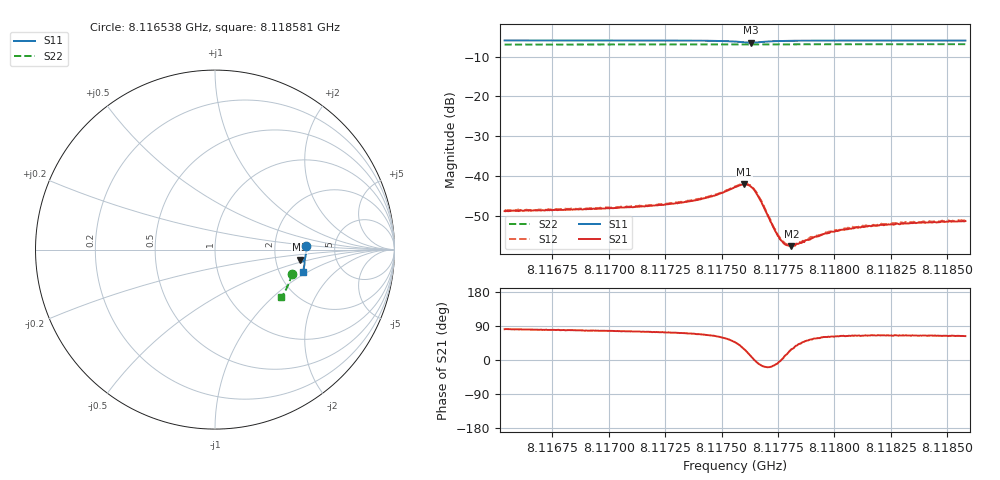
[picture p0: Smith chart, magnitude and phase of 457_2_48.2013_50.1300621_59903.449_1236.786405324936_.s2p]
#  HZ  S  RI  R  50.00
! Rohde & Schwarz Vector Network Analyzer
! Rohde-Schwarz,ZNB20-2Port,1311601062101988,3.16
! Created: UTC 3/20/2024, 11:56:35 AM
! freq[Hz]  re:S11  im:S11  re:S21  im:S21  re:S12  im:S12  re:S22  im:S22
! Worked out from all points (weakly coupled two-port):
!   401 points, 8.116538 GHz to 8.118581 GHz, reference 50 ohm
!   highest |S21| = -42.09 dB at 8.117601 GHz (marker M1); lowest = -57.6 dB at 8.11781 GHz (marker M2)
!   lowest |S11| = -6.4 dB at 8.117631 GHz (marker M3), VSWR 2.82, Z = 138 - j19.8 ohm
!   |S11| at or under -10 dB: nowhere
!   |S22| runs from -6.9 to -6.8 dB; largest |S21 - S12| = 0.00023
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8.1165384e9  0.507 0.019  0.000547 0.00356  0.000615 0.00365  0.4288 -0.1375
8.1168806e9  0.5069 -0.00727  0.000795 0.0037  0.000867 0.00378  0.4218 -0.1603
8.1172227e9  0.5046 -0.0347  0.00123 0.00413  0.0013 0.0042  0.4134 -0.1828
8.1173146e9  0.5034 -0.0427  0.00148 0.00433  0.00151 0.00443  0.411 -0.1889
8.1174116e9  0.501 -0.052  0.00194 0.00475  0.00205 0.00482  0.4082 -0.1952
8.1174882e9  0.4969 -0.0604  0.00283 0.00521  0.0029 0.00527  0.4061 -0.2001
8.1175597e9  0.4868 -0.0674  0.00494 0.00527  0.00504 0.00535  0.4035 -0.2045
8.1176006e9  0.4766 -0.0651  0.00688 0.0038  0.00705 0.00377  0.402 -0.2068
8.1176312e9  0.4729 -0.0557  0.00719 0.00115  0.00737 0.00118  0.401 -0.2083
8.1176465e9  0.4751 -0.0506  0.00656 -7.47e-05  0.00665 -9.88e-05  0.4006 -0.2088
8.117667e9  0.4804 -0.0467  0.00517 -0.00101  0.00527 -0.00105  0.4005 -0.2101
8.1177333e9  0.4944 -0.0516  0.00208 -0.000522  0.00211 -0.000546  0.399 -0.2145
8.1177538e9  0.4963 -0.0543  0.0017 -0.000156  0.00172 -0.000199  0.3985 -0.2157
8.1177691e9  0.4972 -0.0566  0.00149 6.6e-05  0.0015 9.43e-05  0.398 -0.2169
8.1177844e9  0.498 -0.0586  0.00132 0.000306  0.00137 0.000286  0.3976 -0.2178
8.1178099e9  0.4986 -0.0619  0.00115 0.000624  0.00121 0.000623  0.3969 -0.2196
8.1179019e9  0.4994 -0.0718  0.000956 0.00134  0.000967 0.00135  0.3939 -0.2253
8.117958e9  0.4991 -0.077  0.000923 0.00164  0.000957 0.00159  0.392 -0.2288
8.1180295e9  0.4984 -0.0834  0.000931 0.00188  0.000984 0.00191  0.3898 -0.2335
8.1181368e9  0.497 -0.0923  0.000968 0.00207  0.00105 0.00212  0.386 -0.24
8.118244e9  0.4955 -0.1007  0.00105 0.0022  0.0011 0.00226  0.3821 -0.2465
8.118581e9  0.4894 -0.1261  0.00122 0.00241  0.00126 0.00241  0.3697 -0.2666
